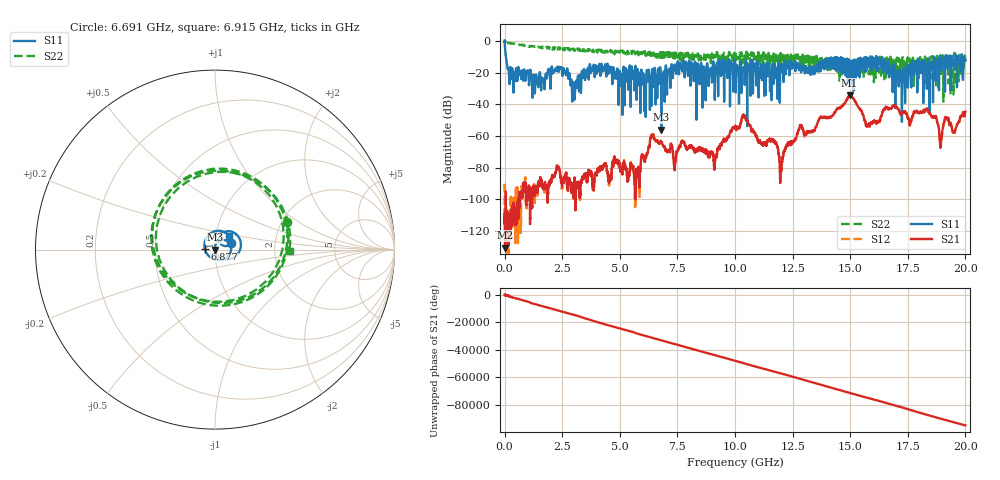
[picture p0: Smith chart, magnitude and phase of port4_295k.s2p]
! MS46122B
! 2250307/22442219
! 7/31/2025 8:34:56 AM
! C:\USERS\SPARKY\DOCUMENTS\VNA_DATA\JULY31_2025\295K\PORT4.S2P
! CHANNEL.1
! TR.MEASUREMENT
! RAW.DATA
# GHZ S RI R 50.0
! FREQ.GHZ  S11RE  S11IM  S21RE  S21IM  S12RE  S12IM  S22RE  S22IM
!; PortSelection: Port_12
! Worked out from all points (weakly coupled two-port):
!   10001 points, 1 MHz to 20 GHz, reference 50 ohm
!   highest |S21| = -34.15 dB at 14.97 GHz (marker M1); lowest = -130.5 dB at 21 MHz (marker M2)
!   lowest |S11| = -56.0 dB at 6.801 GHz (marker M3), VSWR 1.00, Z = 49.9 - j0.11 ohm
!   |S11| at or under -10 dB: 59.17 MHz to 15.86 GHz (15.8 GHz wide, 199 % of centre); 16.14 GHz to 18.64 GHz (2.497 GHz wide, 14.4 % of centre); 18.66 GHz to 18.89 GHz (234.8 MHz wide, 1.25 % of centre) (the widest 3 of 13)
!   |S22| runs from -38.3 to 0.0 dB; largest |S21 - S12| = 0.0023
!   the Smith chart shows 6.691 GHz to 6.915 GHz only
!   S11 on the Smith chart (normalised r, x): 6.691 GHz: 1.20, +0.09; 6.877 GHz: 0.89, +0.00; 6.915 GHz: 1.15, +0.18
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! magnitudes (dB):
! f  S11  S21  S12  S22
! 1 MHz  0.4  -112.0  -90.1  -0.1
! 21 MHz  -4.7  -130.5  -105.8  -0.6
! 379 MHz  -28.0  -104.5  -105.7  -1.7
! 3.335 GHz  -22.4  -89.5  -89.3  -5.4
! 5.801 GHz  -23.6  -80.2  -79.8  -8.0
! 6.669 GHz  -17.3  -64.5  -64.8  -7.4
! 6.691 GHz  -20.1  -64.3  -64.3  -7.3
! 6.801 GHz  -56.0  -63.9  -64.1  -8.9
! 6.877 GHz  -25.0  -66.0  -65.9  -9.1
! 6.915 GHz  -19.3  -67.0  -67.0  -7.6
! 9.125 GHz  -37.2  -75.7  -76.2  -8.8
! 10 GHz  -13.1  -54.3  -54.4  -14.5
! 10.43 GHz  -26.2  -46.9  -47.4  -10.5
! 12 GHz  -15.3  -81.5  -81.3  -9.3
! 12.82 GHz  -14.3  -52.9  -53.6  -13.6
! 13.33 GHz  -16.8  -56.9  -56.8  -12.4
! 14.97 GHz  -20.6  -34.2  -34.2  -20.1
! 15.77 GHz  -12.7  -53.7  -53.8  -11.0
! 16.67 GHz  -14.8  -42.8  -42.8  -10.4
! 18.35 GHz  -16.4  -42.8  -43.1  -12.7
! 18.93 GHz  -11.4  -65.2  -65.0  -16.6
! 20 GHz  -12.3  -44.7  -45.4  -14.2
